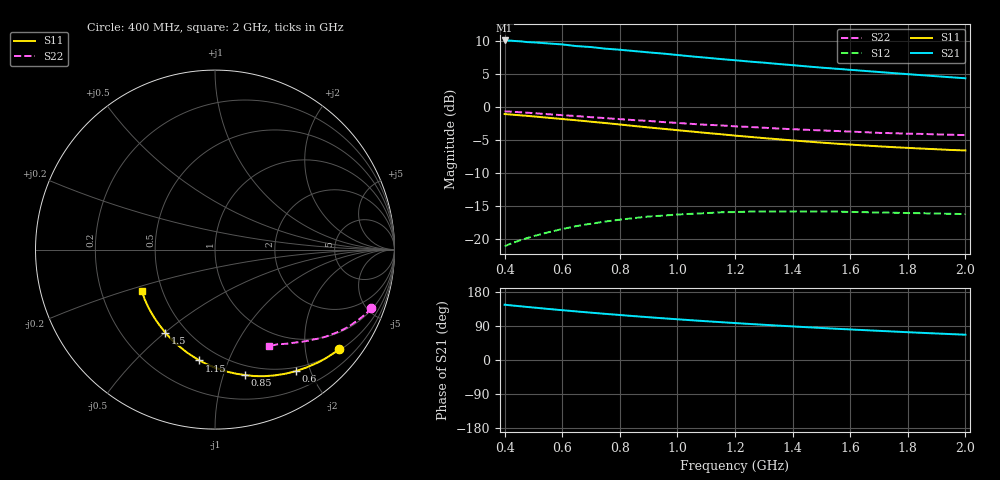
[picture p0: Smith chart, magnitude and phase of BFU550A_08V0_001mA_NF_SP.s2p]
! Filename:  P:\Prog\Test\Noise\ATS_data\Testdata_Net\06 Compressed Noise after Statistics\BFU550A_APG2013_35_C05_08p0V_001mA_NF_CM01_D.sf
! Date/Time: Tue 16/Apr/2013 15:11:27
! BFU550A_APG2013_35_C05_08p0V_1to35mA_NF_CM01_Bias1_R.sf
! Noise Parameter Data File
! BFU550A_APG2013_35_C05_08p0V_1to35mA_NF_CM01
! Date/time: Mon Apr 15 17:49:26 2013
! freq range =  0.4000 to  2.0000 GHz, 37 points
! bias range =  0.9950 to 35.0000 mA, 8 points
! bias supplies used: 1 1 0 0 0 0
! VAR bias_mode= 1  ! Specify V_out, I_out
! VAR bias_var = 1  ! Bias variable = I_out
! VAR V_out= 8.000000
! VAR I_out= 0.995000
! VAR V_in= 0.780900
! VAR I_in= 0.009900
! Device data file deembeded for feedlines and parallel
! Original file: \06 Compressed Noise after Statistics\BFU550A_APG2013_35_C05_08p0V_001mA_NF_CM01_R.sf
! Feed-files: PR017V01_150413_Feed1.s2p, PR017V01_150413_Feed2.s2p
! Parallel-file: PR017V01_150413_Par.s2p
# MHz S MA R 50
!  Freq-MHz  S11-mag  S11-arg  S21-mag  S21-arg  S12-mag  S12-arg  S22-mag  S22-arg
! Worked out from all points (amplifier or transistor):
!   37 points, 400 MHz to 2 GHz, reference 50 ohm
!   highest |S21| = 10.1 dB at 400 MHz (marker M1)
!   |S21| within 3 dB of that: start of sweep to 1.202 GHz
!   unconditionally stable (mu >= 1): nowhere
!   at 500 MHz: K = 0.22, MSG = 14.7 dB, |S12| = -19.5 dB
!   at 1.1 GHz: K = 0.47, MSG = 11.8 dB, |S12| = -16.0 dB
!   at 2 GHz: K = 0.88, MSG = 10.3 dB, |S12| = -16.2 dB
!   lowest NFmin = 0.52 dB at 433 MHz
!   S11 on the Smith chart (normalised r, x): 400 MHz: 0.53, -2.76; 600 MHz: 0.44, -1.78; 850 MHz: 0.41, -1.19; 1.15 GHz: 0.39, -0.79; 1.5 GHz: 0.38, -0.50; 2 GHz: 0.38, -0.23
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400  0.8862 -38.7  3.194 145.9  0.08872 65.6  0.9295 -20.4
420  0.8794 -40.6  3.185 144.3  0.09235 64.5  0.9241 -21.4
440  0.8723 -42.4  3.161 142.8  0.09582 63.5  0.9187 -22.2
480  0.8584 -45.9  3.102 139.9  0.1024 61.4  0.9065 -23.9
500  0.8507 -47.8  3.091 138.5  0.1056 60.5  0.9005 -24.7
550  0.8313 -52.2  3.034 134.8  0.1128 58.1  0.884 -26.7
600  0.8131 -56.5  2.981 131.4  0.1195 55.9  0.8692 -28.6
650  0.795 -60.5  2.894 128.2  0.1259 53.8  0.8555 -30.4
700  0.7756 -64.7  2.847 124.9  0.1311 51.8  0.8396 -32.2
750  0.7576 -68.5  2.768 121.8  0.1363 50.0  0.8254 -33.7
800  0.7389 -72.5  2.717 118.8  0.1407 48.2  0.8112 -35.2
850  0.7195 -76.5  2.655 115.7  0.1448 46.5  0.7971 -36.7
950  0.6855 -83.9  2.541 110.1  0.1511 43.4  0.7706 -39.6
1050  0.6533 -91.0  2.418 104.8  0.1559 40.9  0.7465 -42.0
1150  0.624 -98.0  2.311 99.9  0.16 38.6  0.7277 -44.2
1200  0.6087 -101.4  2.263 97.5  0.1607 37.6  0.7158 -45.5
1350  0.5714 -111.2  2.12 90.8  0.1624 35.3  0.6884 -48.7
1500  0.5391 -120.9  1.99 84.5  0.1624 33.7  0.6663 -51.6
1600  0.5208 -126.9  1.915 80.7  0.1611 33.2  0.6528 -53.6
1750  0.4978 -136.0  1.808 75.1  0.1589 33.3  0.635 -56.2
1850  0.4854 -141.7  1.743 71.6  0.1575 33.7  0.627 -58.0
2000  0.4703 -150.3  1.653 66.7  0.155 35.3  0.6139 -60.7
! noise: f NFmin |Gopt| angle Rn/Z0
400  0.5398  0.6594  22.65  0.3474
460  0.5728  0.6367  26.54  0.3652
600  0.6138  0.6251  35.96  0.3289
800  0.6452  0.6085  49.3  0.2674
1000  0.676  0.5896  62.72  0.2438
1200  0.7833  0.5906  73.57  0.2378
1400  0.8533  0.5492  86.99  0.1929
1600  0.875  0.5162  105  0.147
1800  0.708  0.5583  122.6  0.0908
2000  0.7891  0.6283  132.6  0.0707
